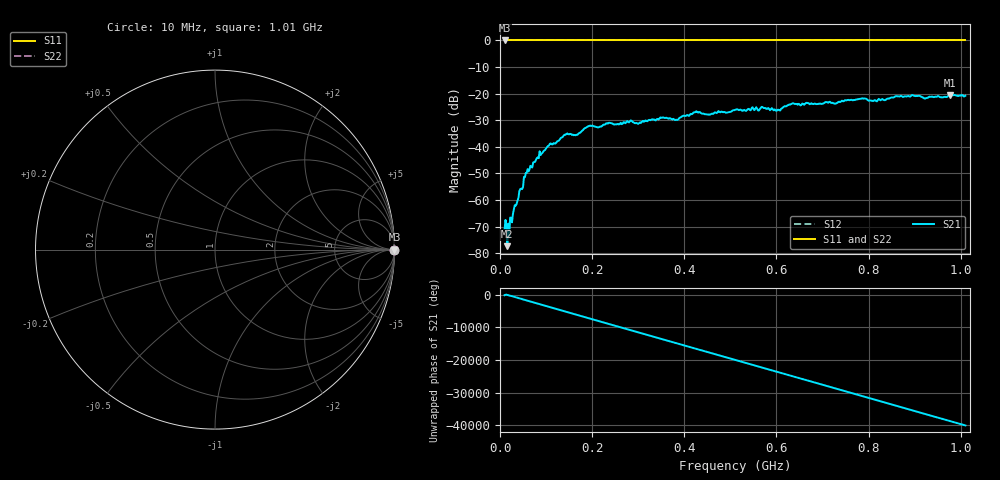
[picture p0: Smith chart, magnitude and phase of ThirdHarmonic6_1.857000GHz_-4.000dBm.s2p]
! 8/16/2025 10:27:32 PM
! C:\ANRITSUVNA\TEMP\TEMP.S2P
! CHANNEL.1
! TR.MEASUREMENT
! RAW.DATA
! RF.CORRECTION.OFF
! AVERAGING.OFF
! IF.BANDWIDTH: 5KHZ
! SWEEPTYPE:  FREQ.SWEEP(Linear)
! Reference Plane Port Info
! PORT:  PORT1  PORT2
! DISTANCE:  0  m  0  m
! TIME:  0  s  0  s
! PHASE.OFFSET:  0  deg.  0  deg.
! LOSS:  0  dB  0  dB
! REF.LOSS:  0  dB  0  dB
! REF.FREQ:  0  Hz  0  Hz
! Power Info
! POWER:  -20  dBm  -20  dBm
! EFF.POWER:  -20  dBm  -20  dBm
! SOURCE.ATTEN:  0  dB  0  dB
! TEST.ATTEN:  0  dB  0  dB
# GHZ S RI R 50.0
! FREQ.GHZ  S11RE  S11IM  S21RE  S21IM  S12RE  S12IM  S22RE  S22IM
!; PortSelection: Port_12
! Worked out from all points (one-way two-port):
!   501 points, 10 MHz to 1.01 GHz, reference 50 ohm
!   highest |S21| = -20.48 dB at 976 MHz (marker M1); lowest = -77.4 dB at 16 MHz (marker M2)
!   lowest |S11| = 0.0 dB at 10 MHz (marker M3)
!   |S11| at or under -10 dB: nowhere
!   |S22| runs from 0.0 to 0.0 dB; largest |S21 - S12| = 1.1
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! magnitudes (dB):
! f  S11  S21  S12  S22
! 10 MHz  0.0  -70.9  0.0  0.0
! 16 MHz  0.0  -77.4  0.0  0.0
! 20 MHz  0.0  -74.1  0.0  0.0
! 26 MHz  0.0  -68.4  0.0  0.0
! 56 MHz  0.0  -49.8  0.0  0.0
! 82 MHz  0.0  -43.9  0.0  0.0
! 106 MHz  0.0  -39.6  0.0  0.0
! 142 MHz  0.0  -35.5  0.0  0.0
! 164 MHz  0.0  -35.7  0.0  0.0
! 178 MHz  0.0  -34.0  0.0  0.0
! 196 MHz  0.0  -32.0  0.0  0.0
! 344 MHz  0.0  -29.7  0.0  0.0
! 382 MHz  0.0  -29.8  0.0  0.0
! 424 MHz  0.0  -27.0  0.0  0.0
! 452 MHz  0.0  -27.9  0.0  0.0
! 510 MHz  0.0  -26.1  0.0  0.0
! 604 MHz  0.0  -26.0  0.0  0.0
! 632 MHz  0.0  -23.9  0.0  0.0
! 678 MHz  0.0  -23.9  0.0  0.0
! 844 MHz  0.0  -21.9  0.0  0.0
! 976 MHz  0.0  -20.5  0.0  0.0
! 1.01 GHz  0.0  -20.8  0.0  0.0
